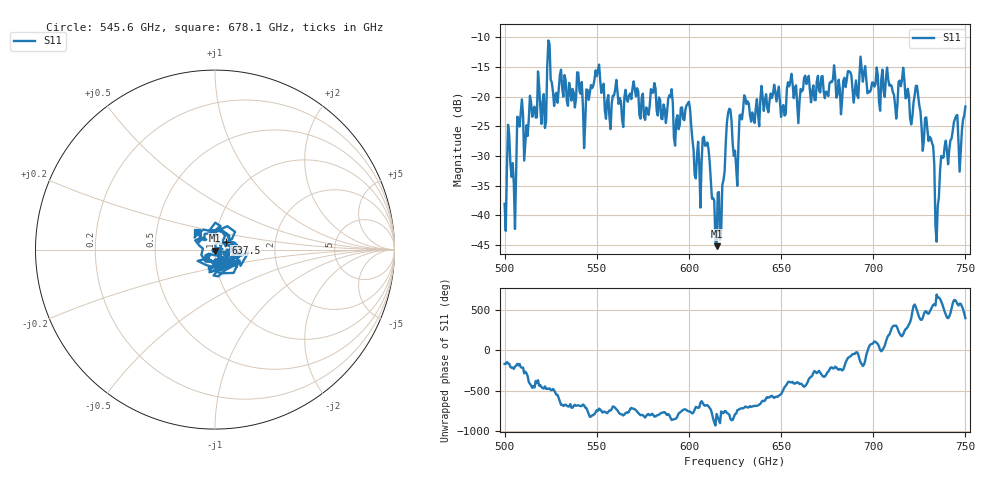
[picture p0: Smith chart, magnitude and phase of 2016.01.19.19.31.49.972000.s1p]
!Created with skrf (http://scikit-rf.org).
# GHz S RI R 50.0
!freq ReS11 ImS11
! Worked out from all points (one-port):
!   401 points, 500 GHz to 750 GHz, reference 50 ohm
!   lowest |S11| = -45.2 dB at 615 GHz (marker M1), VSWR 1.01, Z = 50.2 - j0.522 ohm
!   |S11| at or under -10 dB: start of sweep to end of sweep
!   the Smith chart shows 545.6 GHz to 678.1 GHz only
!   S11 on the Smith chart (normalised r, x): 545.6 GHz: 1.04, -0.19; 637.5 GHz: 1.12, +0.09; 678.1 GHz: 0.81, +0.16
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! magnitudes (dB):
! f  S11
! 500 GHz  -38.1
! 502.5 GHz  -26.5
! 505 GHz  -34.7
! 508.1 GHz  -25.1
! 521.2 GHz  -19.6
! 524.4 GHz  -11.2
! 531.2 GHz  -18.6
! 545.6 GHz  -20.6
! 562.5 GHz  -20.2
! 580.6 GHz  -19.3
! 593.8 GHz  -23.1
! 599.4 GHz  -21.2
! 605 GHz  -27.6
! 609.4 GHz  -28.2
! 615 GHz  -45.2
! 618.1 GHz  -34.9
! 621.9 GHz  -22.1
! 625 GHz  -29.1
! 630.6 GHz  -20.2
! 637.5 GHz  -23.0
! 656.2 GHz  -17.9
! 678.1 GHz  -17.1
! 687.5 GHz  -15.9
! 718.8 GHz  -18.7
! 730 GHz  -27.5
! 735 GHz  -38.5
! 738.1 GHz  -30.3
! 750 GHz  -21.7
